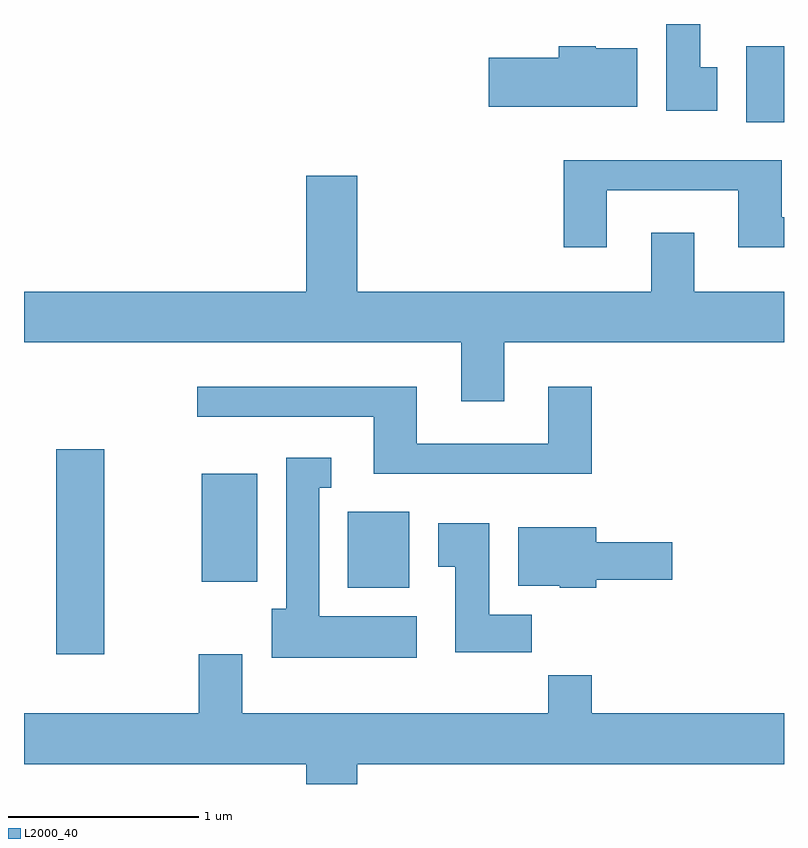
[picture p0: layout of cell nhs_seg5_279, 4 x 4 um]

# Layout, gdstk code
import gdstk
lib = gdstk.Library(unit=1e-6, precision=1e-09)
def R(c, l, rs):  # rectangles x0, y0, x1, y1
    for r in rs: c.add(gdstk.rectangle(r[:2], r[2:], *l))
def P(c, l, *ps):  # polygons
    for p in ps: c.add(gdstk.Polygon(p, *l))
L2000_40 = (2000, 40)

nhs_seg5_279 = lib.new_cell('nhs_seg5_279')
R(nhs_seg5_279, L2000_40, [(193.781,1410.756,194.034,1411.834), (195.316,1411.106,195.639,1411.504), (194.546,1411.136,194.839,1411.704), (197.411,1413.556,197.611,1413.954)])
P(nhs_seg5_279, L2000_40, [(197.259,1413.844),(197.169,1413.844),(197.169,1414.072),(196.991,1414.072),(196.991,1413.616),(197.259,1413.616)],
  [(196.839,1413.944),(196.62,1413.944),(196.62,1413.954),(196.426,1413.954),(196.426,1413.894),(196.056,1413.894),(196.056,1413.636),(196.839,1413.636)],
  [(196.679,1413.196),(197.371,1413.196),(197.371,1412.896),(197.611,1412.896),(197.611,1413.054),(197.599,1413.054),(197.599,1413.354),(196.451,1413.354),(196.451,1412.896),(196.679,1412.896)],
  [(196.139,1412.396),(197.611,1412.396),(197.611,1412.664),(197.139,1412.664),(197.139,1412.974),(196.911,1412.974),(196.911,1412.664),(195.364,1412.664),(195.364,1413.274),(195.096,1413.274),(195.096,1412.664),(193.611,1412.664),(193.611,1412.396),(195.911,1412.396),(195.911,1412.086),(196.139,1412.086)],
  [(196.599,1412.164),(196.371,1412.164),(196.371,1411.864),(195.679,1411.864),(195.679,1412.164),(194.523,1412.164),(194.523,1412.006),(195.451,1412.006),(195.451,1411.706),(196.599,1411.706)],
  [(195.679,1410.954),(195.164,1410.954),(195.164,1411.631),(195.228,1411.631),(195.228,1411.789),(194.991,1411.789),(194.991,1410.994),(194.916,1410.994),(194.916,1410.736),(195.679,1410.736)],
  [(196.284,1410.964),(196.059,1410.964),(196.059,1411.444),(195.791,1411.444),(195.791,1411.216),(195.881,1411.216),(195.881,1410.766),(196.284,1410.766)],
  [(196.624,1411.146),(197.024,1411.146),(197.024,1411.344),(196.624,1411.344),(196.624,1411.424),(196.211,1411.424),(196.211,1411.116),(196.43,1411.116),(196.43,1411.106),(196.624,1411.106)],
  [(195.364,1410.176),(197.611,1410.176),(197.611,1410.444),(196.599,1410.444),(196.599,1410.644),(196.371,1410.644),(196.371,1410.444),(194.759,1410.444),(194.759,1410.754),(194.531,1410.754),(194.531,1410.444),(193.611,1410.444),(193.611,1410.176),(195.096,1410.176),(195.096,1410.072),(195.364,1410.072)])

lib.write_gds('nhs_seg5_279.gds')
